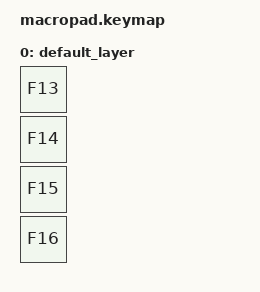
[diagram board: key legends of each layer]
#include <behaviors.dtsi>
#include <dt-bindings/zmk/keys.h>

/ {
    combos {
        compatible = "zmk,combos";
        combo_f17 {
            timeout-ms = <50>;
            key-positions = <2 3>;
            bindings = <&kp F17>;
        };
        combo_f18 {
            timeout-ms = <50>;
            key-positions = <1 2>;
            bindings = <&kp F18>;
        };
        combo_f19 {
            timeout-ms = <50>;
            key-positions = <0 2>;
            bindings = <&kp F19>;
        };
    };

    keymap {
        compatible = "zmk,keymap";

        default_layer {
            bindings = <
                &kp F13
                &kp F14
                &kp F15
                &kp F16
            >;
        };
    };
};
